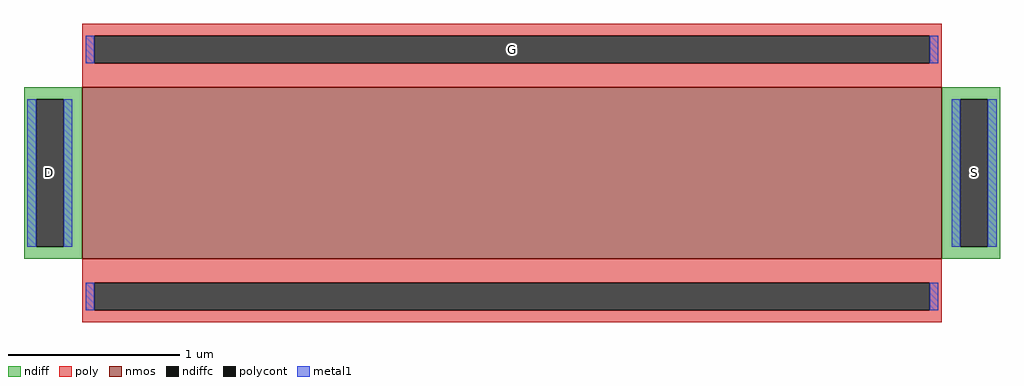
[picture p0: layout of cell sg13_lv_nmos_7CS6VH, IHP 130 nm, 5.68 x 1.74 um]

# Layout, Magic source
magic
tech ihp-sg13g2
<< nmos >>
rect -250 -50 250 50
<< ndiff >>
rect -284 43 -250 50
rect -284 -43 -277 43
rect -261 -43 -250 43
rect -284 -50 -250 -43
rect 250 43 284 50
rect 250 -43 261 43
rect 277 -43 284 43
rect 250 -50 284 -43
<< ndiffc >>
rect -277 -43 -261 43
rect 261 -43 277 43
<< poly >>
rect -250 80 250 87
rect -250 64 -243 80
rect 243 64 250 80
rect -250 50 250 64
rect -250 -64 250 -50
rect -250 -80 -243 -64
rect 243 -80 250 -64
rect -250 -87 250 -80
<< polycont >>
rect -243 64 243 80
rect -243 -80 243 -64
<< metal1 >>
rect -248 64 -243 80
rect 243 64 248 80
rect -282 -43 -277 43
rect -261 -43 -256 43
rect 256 -43 261 43
rect 277 -43 282 43
rect -248 -80 -243 -64
rect 243 -80 248 -64
<< labels >>
rlabel ndiffc -269 0 -269 0 0 D
port 1 nsew
rlabel ndiffc 269 0 269 0 0 S
port 2 nsew
rlabel polycont 0 72 0 72 0 G
port 3 nsew
<< properties >>
string gencell sg13_lv_nmos
string library sg13g2
string parameters w 1 l 5 m 1 nf 1 diffcov 100 polycov 100 guard 0 glc 1 grc 1 gtc 1 gbc 1 tbcov 100 rlcov 100 topc 1 botc 1 poverlap 0 doverlap 1 lmin 0.13 wmin 0.15 class mosfet compatible {sg13_lv_nmos sg13_hv_nmos} full_metal 1 conn_gates 0 gate_ring 0 doports 1 viasrc 0 viadrn 0 viagate 0 ccols 1 viagb 0 viagr 0 viagl 0 viagt 0
<< end >>
